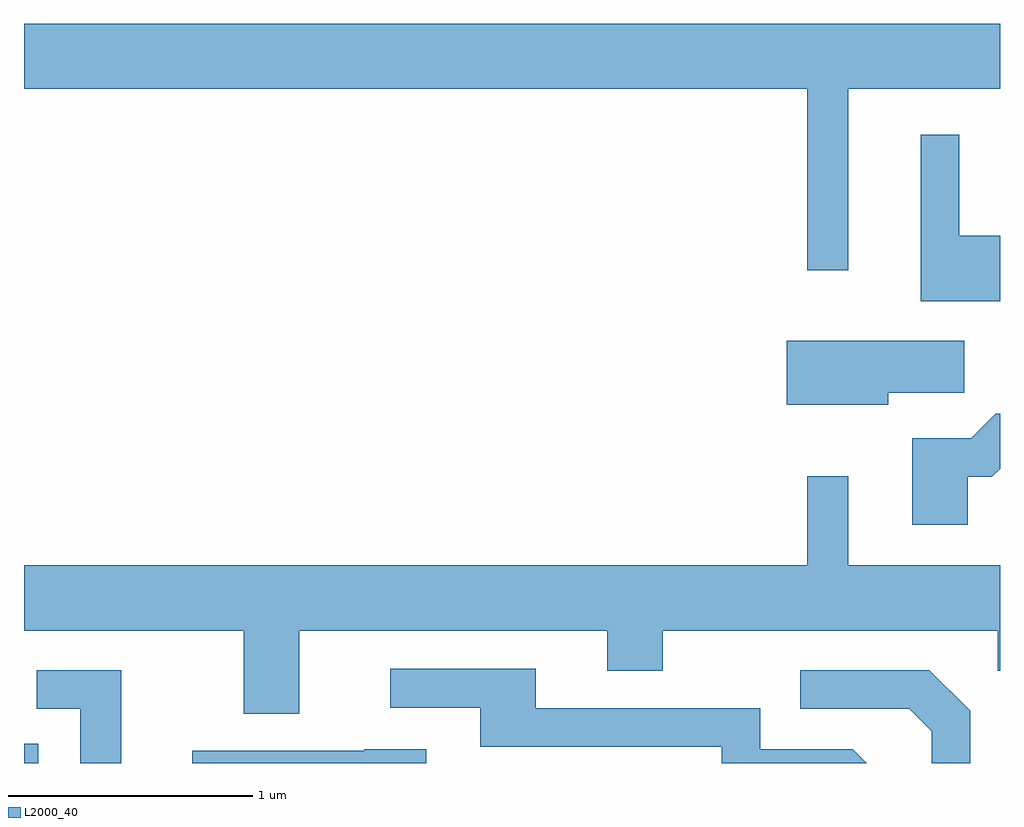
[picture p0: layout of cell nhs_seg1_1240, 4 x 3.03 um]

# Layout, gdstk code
import gdstk
lib = gdstk.Library(unit=1e-6, precision=1e-09)
def R(c, l, rs):  # rectangles x0, y0, x1, y1
    for r in rs: c.add(gdstk.rectangle(r[:2], r[2:], *l))
def P(c, l, *ps):  # polygons
    for p in ps: c.add(gdstk.Polygon(p, *l))
L2000_40 = (2000, 40)

nhs_seg1_1240 = lib.new_cell('nhs_seg1_1240')
R(nhs_seg1_1240, L2000_40, [(223.611,885.712,223.669,885.793)])
P(nhs_seg1_1240, L2000_40, [(226.989,888.476),(227.611,888.476),(227.611,888.744),(223.611,888.744),(223.611,888.476),(226.821,888.476),(226.821,887.733),(226.989,887.733)],
  [(227.611,887.874),(227.444,887.874),(227.444,888.288),(227.286,888.288),(227.286,887.606),(227.611,887.606)],
  [(227.154,887.231),(227.464,887.231),(227.464,887.444),(226.736,887.444),(226.736,887.181),(227.154,887.181)],
  [(227.479,886.886),(227.577,886.886),(227.611,886.92),(227.611,887.144),(227.594,887.144),(227.494,887.044),(227.251,887.044),(227.251,886.691),(227.479,886.691)],
  [(224.739,886.256),(226.001,886.256),(226.001,886.091),(226.229,886.091),(226.229,886.256),(227.601,886.256),(227.601,886.091),(227.611,886.091),(227.611,886.524),(226.989,886.524),(226.989,886.888),(226.821,886.888),(226.821,886.524),(223.611,886.524),(223.611,886.256),(224.511,886.256),(224.511,885.916),(224.739,885.916)],
  [(227.007,885.769),(226.629,885.769),(226.629,885.939),(225.709,885.939),(225.709,886.099),(225.113,886.099),(225.113,885.941),(225.481,885.941),(225.481,885.781),(226.471,885.781),(226.471,885.712),(227.064,885.712)],
  [(227.489,885.927),(227.322,886.094),(226.793,886.094),(226.793,885.936),(227.239,885.936),(227.331,885.844),(227.331,885.712),(227.489,885.712)],
  [(224.009,886.094),(223.663,886.094),(223.663,885.936),(223.841,885.936),(223.841,885.712),(224.009,885.712)],
  [(225.259,885.769),(225.005,885.769),(225.005,885.764),(224.301,885.764),(224.301,885.712),(225.259,885.712)])

lib.write_gds('nhs_seg1_1240.gds')
